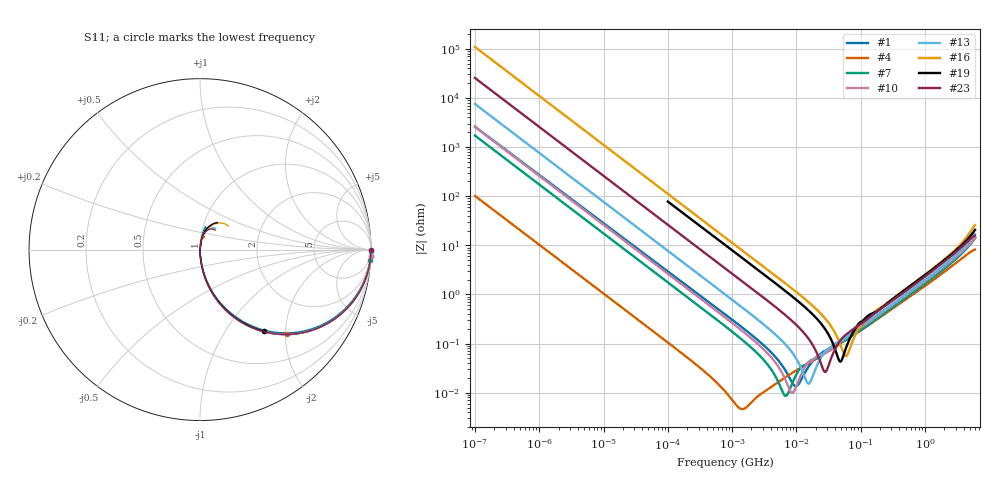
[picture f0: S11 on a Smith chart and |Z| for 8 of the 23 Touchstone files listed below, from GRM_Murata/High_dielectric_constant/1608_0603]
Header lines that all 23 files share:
!These Parameters are Measured in Series Mode Connection
!Data Generated on Mar 30, 2021
!  o--ll--o
!Port1  Port2
!  o------o
!Operation Temp=25[degC], DC Bias Voltage=0[V]
# Hz S RI R 50
!Freq.(Hz) S11(Real) S11(Imag) S21(Real) S21(Imag) S12(Real) S12(Imag) S22(Real) S22(Imag)
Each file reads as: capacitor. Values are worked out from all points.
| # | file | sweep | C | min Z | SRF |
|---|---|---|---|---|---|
| 1 | GRM185B31E105KA12.s2p | 100 Hz to 6 GHz | 607 nF | 13.5 mohm | 9.98 MHz |
| 2 | GRM185C81A475ME11.s2p | 100 Hz to 6 GHz | 3.45 uF | 7.11 mohm | 3.655 MHz |
| 3 | GRM185R60J105KE26.s2p | 100 Hz to 6 GHz | 738 nF | 14.4 mohm | 8.977 MHz |
| 4 | GRM186R60G226ME15.s2p | 100 Hz to 6 GHz | 15.7 uF | 4.64 mohm | 1.546 MHz |
| 5 | GRM187R61A226ME15.s2p | 100 Hz to 6 GHz | 17 uF | 3.88 mohm | 1.417 MHz |
| 6 | GRM188B10J474KA01.s2p | 100 Hz to 6 GHz | 445 nF | 11.4 mohm | 10.44 MHz |
| 7 | GRM188B11A105KA61.s2p | 100 Hz to 6 GHz | 928 nF | 8.66 mohm | 6.96 MHz |
| 8 | GRM188B11A224KA01.s2p | 100 kHz to 6 GHz | 204 nF | 13.4 mohm | 15.61 MHz |
| 9 | GRM188B11A334KA61.s2p | 100 Hz to 6 GHz | 306 nF | 13.5 mohm | 12.7 MHz |
| 10 | GRM188B11A684KA61.s2p | 100 Hz to 6 GHz | 621 nF | 9.84 mohm | 8.763 MHz |
| 11 | GRM188B11C104KA01.s2p | 100 Hz to 6 GHz | 93 nF | 23.1 mohm | 23.22 MHz |
| 12 | GRM188B11C154KA01.s2p | 100 Hz to 6 GHz | 145 nF | 17.4 mohm | 18.86 MHz |
| 13 | GRM188B11C224KA01.s2p | 100 Hz to 6 GHz | 211 nF | 15.2 mohm | 15.68 MHz |
| 14 | GRM188B11E102KA01.s2p | 100 Hz to 6 GHz | 994 pF | 294 mohm | 219.1 MHz |
| 15 | GRM188B11E103MA01.s2p | 100 Hz to 6 GHz | 9.69 nF | 65.7 mohm | 75.25 MHz |
| 16 | GRM188B11E153KA01.s2p | 100 Hz to 6 GHz | 14.6 nF | 55.4 mohm | 59.24 MHz |
| 17 | GRM188B11E222KA01.s2p | 100 Hz to 6 GHz | 2.2 nF | 163 mohm | 157.2 MHz |
| 18 | GRM188B11E223KA01.s2p | 100 Hz to 6 GHz | 21.6 nF | 51.3 mohm | 47.69 MHz |
| 19 | GRM188B11E223MA01.s2p | 100 kHz to 6 GHz | 20.5 nF | 42.9 mohm | 48.58 MHz |
| 20 | GRM188B11E332KA01.s2p | 100 Hz to 6 GHz | 3.3 nF | 161 mohm | 121 MHz |
| 21 | GRM188B11E333KA01.s2p | 100 Hz to 6 GHz | 31.7 nF | 39.6 mohm | 40.71 MHz |
| 22 | GRM188B11E473KA01.s2p | 100 Hz to 6 GHz | 47.8 nF | 31.9 mohm | 32.15 MHz |
| 23 | GRM188B11E683KA01.s2p | 100 Hz to 6 GHz | 62.4 nF | 26.2 mohm | 28.28 MHz |
